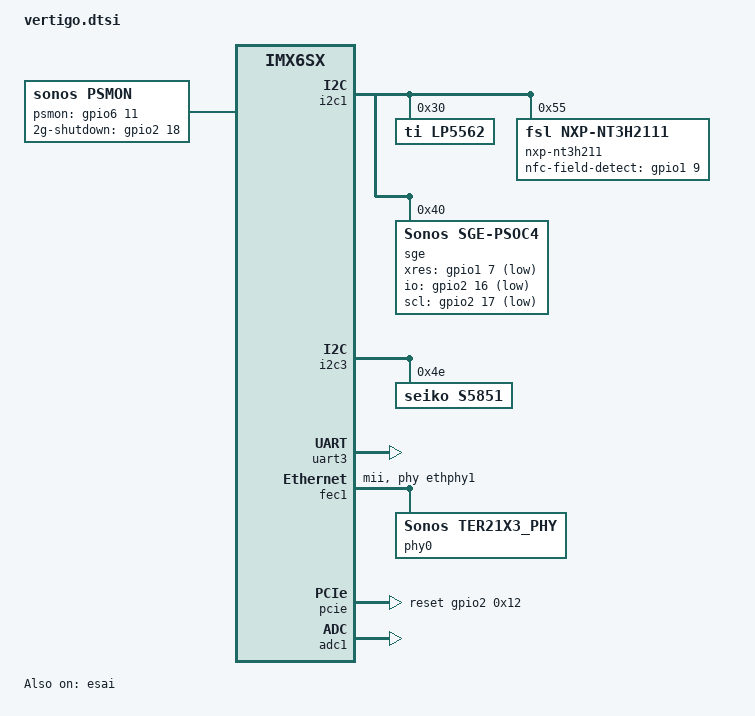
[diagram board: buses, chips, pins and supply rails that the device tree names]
/*
 * Copyright (c) 2019-2021, Sonos, Inc.
 *
 * SPDX-License-Identifier:     GPL-2.0
 */
#include "sonos_imx6sx_common.dtsi"

/ {
	sonos-platform {
		/* Sonos platform specific values for shared driver source & binaries */
		sonos-ampctl {
			status = "okay";

			sonos-ampfaults {
				num-faults = <0x03>;
				status = "okay";

				ampfault@0 {
					fault-gpio = <&gpio6 10 0>;
					fault-label = "Amp Clipping fault";
					fault-flags = <IRQ_TYPE_EDGE_FALLING>;
				} ;
				ampfault@1 {
					fault-gpio = <&gpio6 8 0>;
					fault-label = "Amp Shutdown fault";
					fault-flags = <IRQ_TYPE_EDGE_FALLING>;
				} ;
				ampfault@2 {
					fault-gpio = <&gpio6 9 0>;
					fault-label = "Amp Overtemperature fault";
					fault-flags = <IRQ_TYPE_EDGE_FALLING>;
				} ;
			} ;
			sonos-ampctl-signals {
				num-ctl-signals = <3>;
				sonos-ampsignal@0 {		// DACRESET
					config = <1>;
					on-time = <10>;
					off-time = <10>;
					supports-off = <1>;
					active-low = <1>;
					sig-gpio = <&gpio4 23 0>;
				} ;
				sonos-ampsignal@1 {		// POWER
					on-time = <25>;
					off-time = <0>;
					supports-off = <1>;
					sig-gpio = <&gpio7 1 0>;
				} ;
				sonos-ampsignal@2 {		// AMP MUTE
					config = <1>;
					on-time = <0>;
					off-time = <25>;
					supports-off = <1>;
					active-low = <1>;
					sig-gpio = <&gpio7 0 0>;
				} ;
			} ;
		} ;
		misc-gpio {
			connect-button  = <&gpio7 3 0>;
		};

		simulated-buttons {
			/* event-sources are offsets from EVTSOURCE_BUTTON_PLAYPAUSE, some generate an event for more than one source */
			join {
				event-sources = <3>;
			};
		};

		thermal-mgmt {
			CPU {
				compatible = "seiko,s5851";
				fault-temperature = <80>;
				warn-temperature = <77>;
			};
		};
	};

	psmon {
		compatible = "sonos,psmon";
		psmon-gpio = <&gpio6 11 0>;
		trigger-edge = <IRQ_TYPE_EDGE_RISING>;
		2g-shutdown-gpio = <&gpio2 18 0>;
	};

	sonos_dummy_codec_dac: dac_dummy_codec {
		#sound-dai-cells = <0>;
		compatible = "Sonos,dummy-codec";
		stream-name = "sonos.dac";
		rate = <44100>; /* We use 44.1 KHz as the audio output rate */
		format = "S32_LE"; /* We use signed 24-bit little endian samples in a 32-bit word */
		channels = <2>;
		status = "okay";
	};

	sound {
		compatible = "simple-audio-card";
		simple-audio-card,name = "DAC";
		simple-audio-card,format = "i2s";
		simple-audio-card,bitclock-master = <&esai_out>;
		simple-audio-card,frame-master = <&esai_out>;
		simple-audio-card,mclk-fs = <256>;

		esai_out: simple-audio-card,cpu {
			sound-dai = <&esai>;
			clocks = <&clks IMX6SX_CLK_ESAI_EXTAL>;
			clock-id = <1>; /* ESAI_HCKT_EXTAL */
		};

		simple-audio-card,codec {
			sound-dai = <&sonos_dummy_codec_dac>;
		};
	};
};

&esai {
	status = "okay";
};

&i2c1 {
	lp5562@0 {      // LED controller
		compatible = "ti,lp5562";
		reg = <0x30>;
	};

	nxp-nt3h211@55 {       // NXP 3H2111 NFC
		compatible = "fsl,nxp-nt3h2111";
		nfc-field-detect = <&gpio1 9 0>;
		reg = <0x55>;
		status = "okay";
	};

	sge@0 {  // Sigdetail Gesture Engine
		compatible = "Sonos,sge-psoc4";
		pinctrl-names = "mode-flow-ctrl", "mode-uart-hiz";
		pinctrl-0 = <>;
		pinctrl-1 = <>;
		reg = <0x40>;
		iomuxc-ofs = <0x20e0000 0x1000 0x270 0x274 0x5b8 0x5bc 0x83c>;
		iomuxc-params = "base-addr", "len", "mux-s3d6", "mux-s3d7", "ctl-s3d6", "ctl-s3d7", "uart3-rts-sel";
		xres-gpio = <&gpio1  7 1>;
		io-gpio   = <&gpio2 16 1>;
		scl-gpio  = <&gpio2 17 1>;
		share-swd-uart = <0>;
		eco-trim-cap = <0x3d55>;
		psoc-no-captouch;
		swd-preempt-disable;

		psoc-images {
			image@0 {
				model-num = <4147>;
				ident = <0xed>;
				flash-rows = <1024>;
				flash-row-size = <128>;
				flash-protection-size = <128>;
			};
		};
	};
};

&i2c3 {
	s5851@0 {	// CPU thermal sensor
		compatible = "seiko,s5851";
		reg = <0x4e>;
		device_type = "CPU";
	};
};

&uart3 {
	fsl,uart-has-rtscts;
	status = "okay";
};

&fec1 {
	status = "okay";
	phy-mode = "mii";
	phy-handle = <&ethphy1>;
	phy0 {
		compatible = "Sonos,ter21x3_phy";
		interrupts = <&gpio2 9 1>;
	};
};

&fec2 {
	status = "disabled";
};

&pcie{
	clock-names = "pcie_phy", "pcie_bus", "pcie", "pcie_inbound_axi";
	reset-gpio = <&gpio2 0x12 0x0>;
	fsl,tx-deemph-gen1 = <21>;
	fsl,tx-deemph-gen2-3p5db = <21>;
	fsl,tx-deemph-gen2-6db = <32>;
	fsl,tx-swing-full = <115>;
	fsl,tx-swing-low = <115>;
	status = "okay";
};

&adc1 {
	status = "okay";
};

&pcie{
	status = "okay";
};
